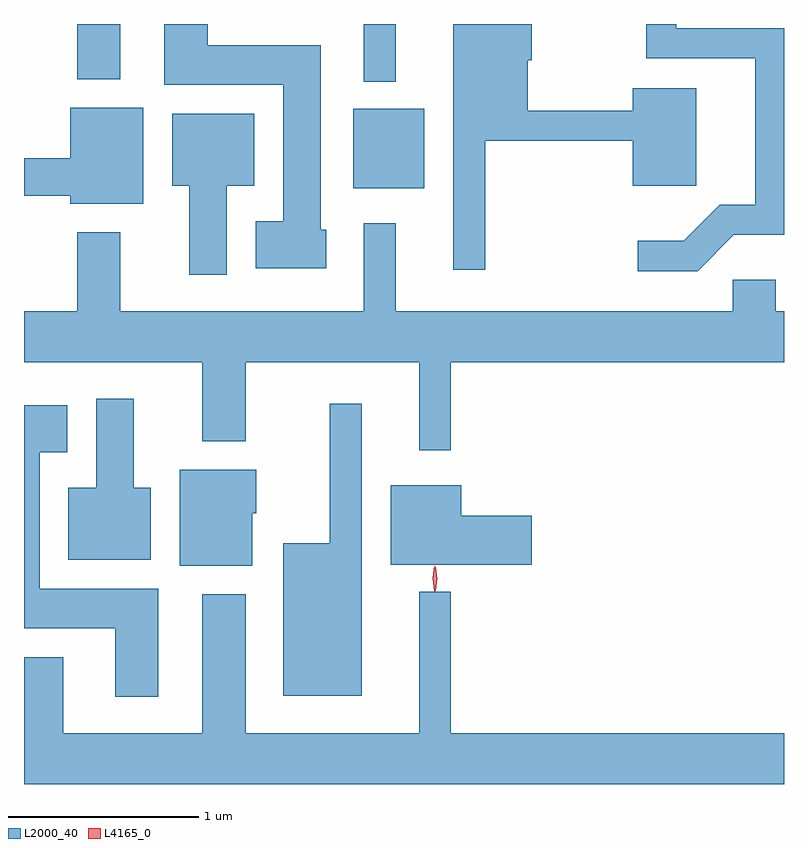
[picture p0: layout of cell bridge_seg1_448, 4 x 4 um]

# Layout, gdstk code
import gdstk
lib = gdstk.Library(unit=1e-6, precision=1e-09)
def R(c, l, rs):  # rectangles x0, y0, x1, y1
    for r in rs: c.add(gdstk.rectangle(r[:2], r[2:], *l))
def P(c, l, *ps):  # polygons
    for p in ps: c.add(gdstk.Polygon(p, *l))
L2000_40 = (2000, 40)
L4165_0 = (4165, 0)

bridge_seg1_448 = lib.new_cell('bridge_seg1_448')
R(bridge_seg1_448, L2000_40, [(248.596,860.531,248.969,860.949), (248.651,861.093,248.819,861.396), (247.141,861.106,247.369,861.396)])
P(bridge_seg1_448, L2000_40, [(249.289,860.781),(250.066,860.781),(250.066,860.546),(250.399,860.546),(250.399,861.059),(250.066,861.059),(250.066,860.939),(249.514,860.939),(249.514,861.206),(249.534,861.206),(249.534,861.396),(249.121,861.396),(249.121,860.103),(249.289,860.103)],
  [(250.597,860.286),(250.862,860.286),(250.862,861.374),(250.294,861.374),(250.294,861.396),(250.136,861.396),(250.136,861.216),(250.711,861.216),(250.711,860.444),(250.524,860.444),(250.334,860.254),(250.093,860.254),(250.093,860.096),(250.407,860.096)],
  [(248.454,860.314),(248.424,860.314),(248.424,861.284),(247.829,861.284),(247.829,861.396),(247.601,861.396),(247.601,861.076),(248.226,861.076),(248.226,860.359),(248.081,860.359),(248.081,860.111),(248.454,860.111)],
  [(247.489,860.954),(247.106,860.954),(247.106,860.689),(246.862,860.689),(246.862,860.491),(247.106,860.491),(247.106,860.451),(247.489,860.451)],
  [(247.929,860.546),(248.074,860.546),(248.074,860.924),(247.641,860.924),(247.641,860.546),(247.731,860.546),(247.731,860.076),(247.929,860.076)],
  [(249.109,859.616),(250.862,859.616),(250.862,859.884),(250.819,859.884),(250.819,860.049),(250.591,860.049),(250.591,859.884),(248.819,859.884),(248.819,860.348),(248.651,860.348),(248.651,859.884),(247.369,859.884),(247.369,860.299),(247.141,860.299),(247.141,859.884),(246.862,859.884),(246.862,859.616),(247.801,859.616),(247.801,859.201),(248.029,859.201),(248.029,859.616),(248.941,859.616),(248.941,859.153),(249.109,859.153)],
  [(247.529,858.954),(247.439,858.954),(247.439,859.424),(247.241,859.424),(247.241,858.954),(247.096,858.954),(247.096,858.576),(247.529,858.576)],
  [(248.639,859.398),(248.471,859.398),(248.471,858.664),(248.226,858.664),(248.226,857.861),(248.639,857.861)],
  [(247.569,858.424),(246.944,858.424),(246.944,859.141),(247.089,859.141),(247.089,859.389),(246.862,859.389),(246.862,858.216),(247.341,858.216),(247.341,857.856),(247.569,857.856)],
  [(248.064,858.821),(248.084,858.821),(248.084,859.049),(247.681,859.049),(247.681,858.546),(248.064,858.546)],
  [(249.534,858.809),(249.164,858.809),(249.164,858.969),(248.791,858.969),(248.791,858.551),(249.534,858.551)],
  [(250.862,857.664),(249.109,857.664),(249.109,858.408),(248.941,858.408),(248.941,857.664),(248.029,857.664),(248.029,858.394),(247.801,858.394),(247.801,857.664),(247.069,857.664),(247.069,858.064),(246.862,858.064),(246.862,857.396),(250.862,857.396)])
P(bridge_seg1_448, L4165_0, [(249.027,858.413),(249.018,858.476),(249.027,858.539),(249.028,858.54),(249.028,858.539),(249.038,858.476),(249.028,858.413),(249.028,858.413)],
  [(249.022,858.41),(249.022,858.41),(249.012,858.478),(249.021,858.546),(249.022,858.546),(249.022,858.546),(249.032,858.478),(249.023,858.41)])

lib.write_gds('bridge_seg1_448.gds')
